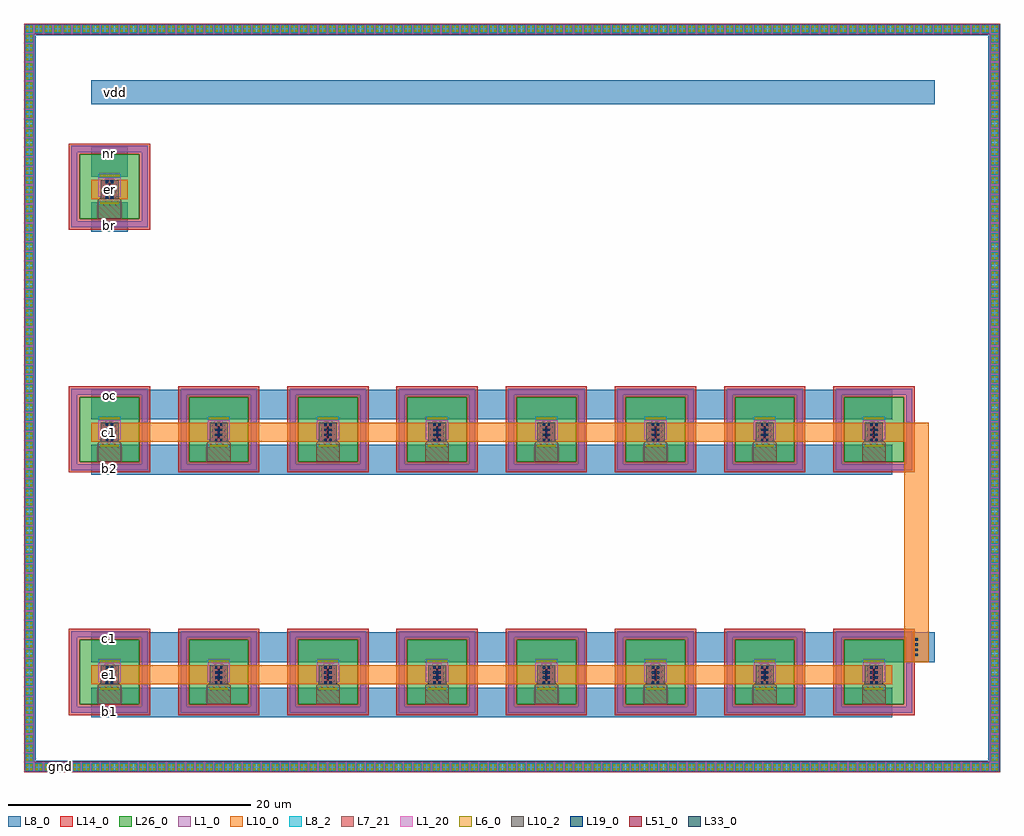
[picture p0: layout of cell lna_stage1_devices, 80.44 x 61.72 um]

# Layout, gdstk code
import gdstk
lib = gdstk.Library(unit=1e-6, precision=1e-09)
def R(c, l, rs):  # rectangles x0, y0, x1, y1
    for r in rs: c.add(gdstk.rectangle(r[:2], r[2:], *l))
def A(c, l, x, y, w, h, nx, ny, dx, dy):  # array of equal rectangles
    R(c, l, [(x+i*dx, y+j*dy, x+i*dx+w, y+j*dy+h) for i in range(nx) for j in range(ny)])
def P(c, l, *ps):  # polygons
    for p in ps: c.add(gdstk.Polygon(p, *l))
L1_0 = (1, 0)
L1_20 = (1, 20)
L6_0 = (6, 0)
L7_21 = (7, 21)
L8_0 = (8, 0)
L8_2 = (8, 2)
L10_0 = (10, 0)
L10_2 = (10, 2)
L14_0 = (14, 0)
L19_0 = (19, 0)
L26_0 = (26, 0)
L33_0 = (33, 0)
L51_0 = (51, 0)

npn13g2_base_cdns_675179 = lib.new_cell('npn13G2_base_CDNS_675179387640')
R(npn13g2_base_cdns_675179, L1_0, [(-0.925,-1.28,0.925,-0.98)])
P(npn13g2_base_cdns_675179, L1_20, [(-0.925,-0.98),(-0.925,0.62),(-0.445,0.62),(-0.235,0.83),(0.235,0.83),(0.445,0.62),(0.925,0.62),(0.925,-0.98)])
R(npn13g2_base_cdns_675179, L6_0, [(-0.825,-1.21,0.825,-1.05), (-0.76,1.06,0.76,1.22)])
P(npn13g2_base_cdns_675179, L7_21, [(-0.305,-0.94),(-0.555,-0.69),(-0.555,0.48),(-0.975,0.9),(-0.975,2.43),(0.975,2.43),(0.975,0.9),(0.555,0.48),(0.555,-0.69),(0.305,-0.94)])
R(npn13g2_base_cdns_675179, L8_0, [(-0.925,-1.25,0.925,-1.01), (-0.35,-0.77,0.35,0.785), (-0.975,1.02,0.975,1.26)])
R(npn13g2_base_cdns_675179, L10_0, [(-0.925,-0.77,0.925,0.785)])
A(npn13g2_base_cdns_675179, L19_0, -0.3, -0.7, 0.19, 0.19, 1, 4, 0, 0.41)
A(npn13g2_base_cdns_675179, L19_0, 0.11, -0.7, 0.19, 0.19, 1, 4, 0, 0.41)
R(npn13g2_base_cdns_675179, L33_0, [(-0.035,-0.45,0.035,0.45), (-0.035,-0.45,0.035,0.45)])
R(npn13g2_base_cdns_675179, L51_0, [(-0.085,-0.5,0.085,0.5)])
npn13g2_base_cdns_675179.add(gdstk.Label('npn13G2', (0.015,-2.31), layer=63, texttype=0))
npn13g2_base_cdns_675179.add(gdstk.Label('npn13G2_base', (0,0), layer=51, texttype=0))

npn13g2 = lib.new_cell('npn13G2')
P(npn13g2, L1_0, [(-3.15,-3.13),(-3.15,3.58),(2.65,3.58),(2.65,3.08),(-2.65,3.08),(-2.65,-2.63),(2.65,-2.63),(2.65,3.58),(3.15,3.58),(3.15,-3.13)])
R(npn13g2, L8_2, [(-0.965,-1.26,0.975,-1.02), (-0.915,1.01,0.925,1.25)])
R(npn13g2, L10_2, [(-0.745,-0.78,0.745,0.77)])
P(npn13g2, L14_0, [(-3.35,-3.33),(-3.35,3.78),(2.45,3.78),(2.45,2.88),(-2.45,2.88),(-2.45,-2.43),(2.45,-2.43),(2.45,3.78),(3.35,3.78),(3.35,-3.33)])
R(npn13g2, L26_0, [(-2.45,-2.43,2.45,2.88)])
npn13g2.add(gdstk.Reference(npn13g2_base_cdns_675179, (0,0), x_reflection=True))
npn13g2.add(gdstk.Label('Ae=1*1*0.07*0.90', (-1.977,-2.546), layer=63, texttype=0))
npn13g2.add(gdstk.Label('E', (0,-0.005), layer=63, texttype=0))
npn13g2.add(gdstk.Label('B', (0.005,-1.14), layer=63, texttype=0))
npn13g2.add(gdstk.Label('C', (0.005,1.13), layer=63, texttype=0))

ptap = lib.new_cell('ptap')
R(ptap, L1_0, [(0,0,0.78,0.78)])
R(ptap, L6_0, [(0.14,0.14,0.3,0.3), (0.48,0.14,0.64,0.3), (0.14,0.48,0.3,0.64), (0.48,0.48,0.64,0.64)])
R(ptap, L8_0, [(0.09,0.09,0.69,0.69)])
R(ptap, L8_2, [(0.09,0.09,0.69,0.69)])
R(ptap, L14_0, [(-0.03,-0.03,0.81,0.81)])

lna_stage1_devices = lib.new_cell('lna_stage1_devices')
R(lna_stage1_devices, L8_0, [(-7.05,-8.05,73.39,-7.1), (-7.05,-8.05,-6.1,53.67), (72.44,-8.05,73.39,53.67), (-1.5,-3.5,64.5,-1.06), (-1.5,1.05,64.5,3.5), (64.5,1.05,68,3.5), (-1.5,16.5,64.5,18.94), (-1.5,21.05,64.5,23.5), (-1.5,36.5,1.5,38.94), (-1.5,41.05,1.5,43.5), (-1.5,47,68,49), (-7.05,52.72,73.39,53.67)])
R(lna_stage1_devices, L10_0, [(-1.5,-0.8,64.5,0.79), (65.5,1.05,67.5,20.79), (-1.5,19.2,64.5,20.79), (64.4,19.2,67.5,20.79), (-1.5,39.2,1.5,40.79)])
A(lna_stage1_devices, L19_0, 66.405, 1.55, 0.19, 0.19, 1, 4, 0, 0.42)
lna_stage1_devices.add(gdstk.Reference(npn13g2, (36,0)))
lna_stage1_devices.add(gdstk.Reference(npn13g2, (0,20)))
lna_stage1_devices.add(gdstk.Reference(npn13g2, (9,20)))
lna_stage1_devices.add(gdstk.Reference(npn13g2, (18,20)))
lna_stage1_devices.add(gdstk.Reference(npn13g2, (27,20)))
lna_stage1_devices.add(gdstk.Reference(npn13g2, (36,20)))
lna_stage1_devices.add(gdstk.Reference(npn13g2, (45,20)))
lna_stage1_devices.add(gdstk.Reference(npn13g2, (54,20)))
lna_stage1_devices.add(gdstk.Reference(npn13g2, (63,20)))
lna_stage1_devices.add(gdstk.Reference(ptap, (32.78,-8)))
lna_stage1_devices.add(gdstk.Reference(ptap, (72.56,22.42)))
lna_stage1_devices.add(gdstk.Reference(ptap, (32.78,52.84)))
lna_stage1_devices.add(gdstk.Reference(ptap, (-7,22.42)))
lna_stage1_devices.add(gdstk.Reference(ptap, (72.56,24.76)))
lna_stage1_devices.add(gdstk.Reference(ptap, (72.56,25.54)))
lna_stage1_devices.add(gdstk.Reference(ptap, (72.56,26.32)))
lna_stage1_devices.add(gdstk.Reference(ptap, (72.56,27.1)))
lna_stage1_devices.add(gdstk.Reference(ptap, (72.56,27.88)))
lna_stage1_devices.add(gdstk.Reference(ptap, (72.56,28.66)))
lna_stage1_devices.add(gdstk.Reference(ptap, (72.56,29.44)))
lna_stage1_devices.add(gdstk.Reference(ptap, (72.56,30.22)))
lna_stage1_devices.add(gdstk.Reference(ptap, (72.56,31)))
lna_stage1_devices.add(gdstk.Reference(ptap, (72.56,31.78)))
lna_stage1_devices.add(gdstk.Reference(ptap, (72.56,32.56)))
lna_stage1_devices.add(gdstk.Reference(ptap, (72.56,33.34)))
lna_stage1_devices.add(gdstk.Reference(ptap, (72.56,34.12)))
lna_stage1_devices.add(gdstk.Reference(ptap, (72.56,34.9)))
lna_stage1_devices.add(gdstk.Reference(ptap, (72.56,35.68)))
lna_stage1_devices.add(gdstk.Reference(ptap, (72.56,36.46)))
lna_stage1_devices.add(gdstk.Reference(ptap, (72.56,37.24)))
lna_stage1_devices.add(gdstk.Reference(ptap, (72.56,38.02)))
lna_stage1_devices.add(gdstk.Reference(ptap, (72.56,38.8)))
lna_stage1_devices.add(gdstk.Reference(ptap, (72.56,39.58)))
lna_stage1_devices.add(gdstk.Reference(ptap, (72.56,40.36)))
lna_stage1_devices.add(gdstk.Reference(ptap, (72.56,41.14)))
lna_stage1_devices.add(gdstk.Reference(ptap, (72.56,41.92)))
lna_stage1_devices.add(gdstk.Reference(ptap, (72.56,42.7)))
lna_stage1_devices.add(gdstk.Reference(ptap, (72.56,43.48)))
lna_stage1_devices.add(gdstk.Reference(ptap, (72.56,44.26)))
lna_stage1_devices.add(gdstk.Reference(ptap, (72.56,45.04)))
lna_stage1_devices.add(gdstk.Reference(ptap, (72.56,45.82)))
lna_stage1_devices.add(gdstk.Reference(ptap, (72.56,46.6)))
lna_stage1_devices.add(gdstk.Reference(ptap, (72.56,47.38)))
lna_stage1_devices.add(gdstk.Reference(ptap, (72.56,48.16)))
lna_stage1_devices.add(gdstk.Reference(ptap, (72.56,48.94)))
lna_stage1_devices.add(gdstk.Reference(ptap, (72.56,49.72)))
lna_stage1_devices.add(gdstk.Reference(ptap, (72.56,50.5)))
lna_stage1_devices.add(gdstk.Reference(ptap, (72.56,51.28)))
lna_stage1_devices.add(gdstk.Reference(ptap, (72.56,52.06)))
lna_stage1_devices.add(gdstk.Reference(ptap, (72.56,52.84)))
lna_stage1_devices.add(gdstk.Reference(ptap, (71.78,52.84)))
lna_stage1_devices.add(gdstk.Reference(ptap, (71,52.84)))
lna_stage1_devices.add(gdstk.Reference(ptap, (70.22,52.84)))
lna_stage1_devices.add(gdstk.Reference(ptap, (69.44,52.84)))
lna_stage1_devices.add(gdstk.Reference(ptap, (68.66,52.84)))
lna_stage1_devices.add(gdstk.Reference(ptap, (67.88,52.84)))
lna_stage1_devices.add(gdstk.Reference(ptap, (67.1,52.84)))
lna_stage1_devices.add(gdstk.Reference(ptap, (66.32,52.84)))
lna_stage1_devices.add(gdstk.Reference(ptap, (65.54,52.84)))
lna_stage1_devices.add(gdstk.Reference(ptap, (64.76,52.84)))
lna_stage1_devices.add(gdstk.Reference(ptap, (63.98,52.84)))
lna_stage1_devices.add(gdstk.Reference(ptap, (63.2,52.84)))
lna_stage1_devices.add(gdstk.Reference(ptap, (62.42,52.84)))
lna_stage1_devices.add(gdstk.Reference(ptap, (61.64,52.84)))
lna_stage1_devices.add(gdstk.Reference(ptap, (60.86,52.84)))
lna_stage1_devices.add(gdstk.Reference(ptap, (60.08,52.84)))
lna_stage1_devices.add(gdstk.Reference(ptap, (59.3,52.84)))
lna_stage1_devices.add(gdstk.Reference(ptap, (58.52,52.84)))
lna_stage1_devices.add(gdstk.Reference(ptap, (57.74,52.84)))
lna_stage1_devices.add(gdstk.Reference(ptap, (56.96,52.84)))
lna_stage1_devices.add(gdstk.Reference(ptap, (56.18,52.84)))
lna_stage1_devices.add(gdstk.Reference(ptap, (55.4,52.84)))
lna_stage1_devices.add(gdstk.Reference(ptap, (54.62,52.84)))
lna_stage1_devices.add(gdstk.Reference(ptap, (53.84,52.84)))
lna_stage1_devices.add(gdstk.Reference(ptap, (53.06,52.84)))
lna_stage1_devices.add(gdstk.Reference(ptap, (52.28,52.84)))
lna_stage1_devices.add(gdstk.Reference(ptap, (51.5,52.84)))
lna_stage1_devices.add(gdstk.Reference(ptap, (50.72,52.84)))
lna_stage1_devices.add(gdstk.Reference(ptap, (49.94,52.84)))
lna_stage1_devices.add(gdstk.Reference(ptap, (49.16,52.84)))
lna_stage1_devices.add(gdstk.Reference(ptap, (48.38,52.84)))
lna_stage1_devices.add(gdstk.Reference(ptap, (47.6,52.84)))
lna_stage1_devices.add(gdstk.Reference(ptap, (46.82,52.84)))
lna_stage1_devices.add(gdstk.Reference(ptap, (46.04,52.84)))
lna_stage1_devices.add(gdstk.Reference(ptap, (45.26,52.84)))
lna_stage1_devices.add(gdstk.Reference(ptap, (44.48,52.84)))
lna_stage1_devices.add(gdstk.Reference(ptap, (43.7,52.84)))
lna_stage1_devices.add(gdstk.Reference(ptap, (42.92,52.84)))
lna_stage1_devices.add(gdstk.Reference(ptap, (42.14,52.84)))
lna_stage1_devices.add(gdstk.Reference(ptap, (41.36,52.84)))
lna_stage1_devices.add(gdstk.Reference(ptap, (40.58,52.84)))
lna_stage1_devices.add(gdstk.Reference(ptap, (39.8,52.84)))
lna_stage1_devices.add(gdstk.Reference(ptap, (39.02,52.84)))
lna_stage1_devices.add(gdstk.Reference(ptap, (38.24,52.84)))
lna_stage1_devices.add(gdstk.Reference(ptap, (37.46,52.84)))
lna_stage1_devices.add(gdstk.Reference(ptap, (36.68,52.84)))
lna_stage1_devices.add(gdstk.Reference(ptap, (35.9,52.84)))
lna_stage1_devices.add(gdstk.Reference(ptap, (35.12,52.84)))
lna_stage1_devices.add(gdstk.Reference(ptap, (34.34,52.84)))
lna_stage1_devices.add(gdstk.Reference(ptap, (33.56,52.84)))
lna_stage1_devices.add(gdstk.Reference(ptap, (72.56,23.2)))
lna_stage1_devices.add(gdstk.Reference(ptap, (72.56,23.98)))
lna_stage1_devices.add(gdstk.Reference(ptap, (32,52.84)))
lna_stage1_devices.add(gdstk.Reference(ptap, (31.22,52.84)))
lna_stage1_devices.add(gdstk.Reference(ptap, (30.44,52.84)))
lna_stage1_devices.add(gdstk.Reference(ptap, (29.66,52.84)))
lna_stage1_devices.add(gdstk.Reference(ptap, (28.88,52.84)))
lna_stage1_devices.add(gdstk.Reference(ptap, (28.1,52.84)))
lna_stage1_devices.add(gdstk.Reference(ptap, (27.32,52.84)))
lna_stage1_devices.add(gdstk.Reference(ptap, (26.54,52.84)))
lna_stage1_devices.add(gdstk.Reference(ptap, (25.76,52.84)))
lna_stage1_devices.add(gdstk.Reference(ptap, (24.98,52.84)))
lna_stage1_devices.add(gdstk.Reference(ptap, (24.2,52.84)))
lna_stage1_devices.add(gdstk.Reference(ptap, (23.42,52.84)))
lna_stage1_devices.add(gdstk.Reference(ptap, (22.64,52.84)))
lna_stage1_devices.add(gdstk.Reference(ptap, (21.86,52.84)))
lna_stage1_devices.add(gdstk.Reference(ptap, (21.08,52.84)))
lna_stage1_devices.add(gdstk.Reference(ptap, (20.3,52.84)))
lna_stage1_devices.add(gdstk.Reference(ptap, (19.52,52.84)))
lna_stage1_devices.add(gdstk.Reference(ptap, (18.74,52.84)))
lna_stage1_devices.add(gdstk.Reference(ptap, (17.96,52.84)))
lna_stage1_devices.add(gdstk.Reference(ptap, (17.18,52.84)))
lna_stage1_devices.add(gdstk.Reference(ptap, (16.4,52.84)))
lna_stage1_devices.add(gdstk.Reference(ptap, (15.62,52.84)))
lna_stage1_devices.add(gdstk.Reference(ptap, (14.84,52.84)))
lna_stage1_devices.add(gdstk.Reference(ptap, (14.06,52.84)))
lna_stage1_devices.add(gdstk.Reference(ptap, (13.28,52.84)))
lna_stage1_devices.add(gdstk.Reference(ptap, (12.5,52.84)))
lna_stage1_devices.add(gdstk.Reference(ptap, (11.72,52.84)))
lna_stage1_devices.add(gdstk.Reference(ptap, (10.94,52.84)))
lna_stage1_devices.add(gdstk.Reference(ptap, (10.16,52.84)))
lna_stage1_devices.add(gdstk.Reference(ptap, (9.38,52.84)))
lna_stage1_devices.add(gdstk.Reference(ptap, (8.6,52.84)))
lna_stage1_devices.add(gdstk.Reference(ptap, (7.82,52.84)))
lna_stage1_devices.add(gdstk.Reference(ptap, (7.04,52.84)))
lna_stage1_devices.add(gdstk.Reference(ptap, (6.26,52.84)))
lna_stage1_devices.add(gdstk.Reference(ptap, (5.48,52.84)))
lna_stage1_devices.add(gdstk.Reference(ptap, (4.7,52.84)))
lna_stage1_devices.add(gdstk.Reference(ptap, (3.92,52.84)))
lna_stage1_devices.add(gdstk.Reference(ptap, (3.14,52.84)))
lna_stage1_devices.add(gdstk.Reference(ptap, (2.36,52.84)))
lna_stage1_devices.add(gdstk.Reference(ptap, (1.58,52.84)))
lna_stage1_devices.add(gdstk.Reference(ptap, (0.8,52.84)))
lna_stage1_devices.add(gdstk.Reference(ptap, (0.02,52.84)))
lna_stage1_devices.add(gdstk.Reference(ptap, (-0.76,52.84)))
lna_stage1_devices.add(gdstk.Reference(ptap, (-1.54,52.84)))
lna_stage1_devices.add(gdstk.Reference(ptap, (-2.32,52.84)))
lna_stage1_devices.add(gdstk.Reference(ptap, (-3.1,52.84)))
lna_stage1_devices.add(gdstk.Reference(ptap, (-3.88,52.84)))
lna_stage1_devices.add(gdstk.Reference(ptap, (-4.66,52.84)))
lna_stage1_devices.add(gdstk.Reference(ptap, (-5.44,52.84)))
lna_stage1_devices.add(gdstk.Reference(ptap, (-6.22,52.84)))
lna_stage1_devices.add(gdstk.Reference(ptap, (-7,52.84)))
lna_stage1_devices.add(gdstk.Reference(ptap, (-7,52.06)))
lna_stage1_devices.add(gdstk.Reference(ptap, (-7,51.28)))
lna_stage1_devices.add(gdstk.Reference(ptap, (-7,50.5)))
lna_stage1_devices.add(gdstk.Reference(ptap, (-7,49.72)))
lna_stage1_devices.add(gdstk.Reference(ptap, (-7,48.94)))
lna_stage1_devices.add(gdstk.Reference(ptap, (-7,48.16)))
lna_stage1_devices.add(gdstk.Reference(ptap, (-7,47.38)))
lna_stage1_devices.add(gdstk.Reference(ptap, (-7,46.6)))
lna_stage1_devices.add(gdstk.Reference(ptap, (-7,45.82)))
lna_stage1_devices.add(gdstk.Reference(ptap, (-7,45.04)))
lna_stage1_devices.add(gdstk.Reference(ptap, (-7,44.26)))
lna_stage1_devices.add(gdstk.Reference(ptap, (-7,43.48)))
lna_stage1_devices.add(gdstk.Reference(ptap, (-7,42.7)))
lna_stage1_devices.add(gdstk.Reference(ptap, (-7,41.92)))
lna_stage1_devices.add(gdstk.Reference(ptap, (-7,41.14)))
lna_stage1_devices.add(gdstk.Reference(ptap, (-7,40.36)))
lna_stage1_devices.add(gdstk.Reference(ptap, (-7,39.58)))
lna_stage1_devices.add(gdstk.Reference(ptap, (-7,38.8)))
lna_stage1_devices.add(gdstk.Reference(ptap, (-7,38.02)))
lna_stage1_devices.add(gdstk.Reference(ptap, (-7,37.24)))
lna_stage1_devices.add(gdstk.Reference(ptap, (-7,36.46)))
lna_stage1_devices.add(gdstk.Reference(ptap, (-7,35.68)))
lna_stage1_devices.add(gdstk.Reference(ptap, (-7,34.9)))
lna_stage1_devices.add(gdstk.Reference(ptap, (-7,34.12)))
lna_stage1_devices.add(gdstk.Reference(ptap, (-7,33.34)))
lna_stage1_devices.add(gdstk.Reference(ptap, (-7,32.56)))
lna_stage1_devices.add(gdstk.Reference(ptap, (-7,31.78)))
lna_stage1_devices.add(gdstk.Reference(ptap, (-7,31)))
lna_stage1_devices.add(gdstk.Reference(ptap, (-7,30.22)))
lna_stage1_devices.add(gdstk.Reference(ptap, (-7,29.44)))
lna_stage1_devices.add(gdstk.Reference(ptap, (-7,28.66)))
lna_stage1_devices.add(gdstk.Reference(ptap, (-7,27.88)))
lna_stage1_devices.add(gdstk.Reference(ptap, (-7,27.1)))
lna_stage1_devices.add(gdstk.Reference(ptap, (-7,26.32)))
lna_stage1_devices.add(gdstk.Reference(ptap, (-7,25.54)))
lna_stage1_devices.add(gdstk.Reference(ptap, (-7,24.76)))
lna_stage1_devices.add(gdstk.Reference(ptap, (-7,23.98)))
lna_stage1_devices.add(gdstk.Reference(ptap, (-7,23.2)))
lna_stage1_devices.add(gdstk.Reference(npn13g2, (0,40)))
lna_stage1_devices.add(gdstk.Reference(ptap, (3.14,-8)))
lna_stage1_devices.add(gdstk.Reference(ptap, (3.92,-8)))
lna_stage1_devices.add(gdstk.Reference(ptap, (4.7,-8)))
lna_stage1_devices.add(gdstk.Reference(ptap, (5.48,-8)))
lna_stage1_devices.add(gdstk.Reference(ptap, (6.26,-8)))
lna_stage1_devices.add(gdstk.Reference(ptap, (7.04,-8)))
lna_stage1_devices.add(gdstk.Reference(ptap, (7.82,-8)))
lna_stage1_devices.add(gdstk.Reference(ptap, (8.6,-8)))
lna_stage1_devices.add(gdstk.Reference(ptap, (9.38,-8)))
lna_stage1_devices.add(gdstk.Reference(ptap, (10.16,-8)))
lna_stage1_devices.add(gdstk.Reference(ptap, (10.94,-8)))
lna_stage1_devices.add(gdstk.Reference(ptap, (11.72,-8)))
lna_stage1_devices.add(gdstk.Reference(ptap, (12.5,-8)))
lna_stage1_devices.add(gdstk.Reference(ptap, (13.28,-8)))
lna_stage1_devices.add(gdstk.Reference(ptap, (14.06,-8)))
lna_stage1_devices.add(gdstk.Reference(ptap, (14.84,-8)))
lna_stage1_devices.add(gdstk.Reference(ptap, (15.62,-8)))
lna_stage1_devices.add(gdstk.Reference(ptap, (16.4,-8)))
lna_stage1_devices.add(gdstk.Reference(ptap, (17.18,-8)))
lna_stage1_devices.add(gdstk.Reference(ptap, (17.96,-8)))
lna_stage1_devices.add(gdstk.Reference(ptap, (18.74,-8)))
lna_stage1_devices.add(gdstk.Reference(ptap, (19.52,-8)))
lna_stage1_devices.add(gdstk.Reference(ptap, (20.3,-8)))
lna_stage1_devices.add(gdstk.Reference(ptap, (21.08,-8)))
lna_stage1_devices.add(gdstk.Reference(ptap, (21.86,-8)))
lna_stage1_devices.add(gdstk.Reference(ptap, (22.64,-8)))
lna_stage1_devices.add(gdstk.Reference(ptap, (23.42,-8)))
lna_stage1_devices.add(gdstk.Reference(ptap, (24.2,-8)))
lna_stage1_devices.add(gdstk.Reference(ptap, (24.98,-8)))
lna_stage1_devices.add(gdstk.Reference(ptap, (25.76,-8)))
lna_stage1_devices.add(gdstk.Reference(ptap, (26.54,-8)))
lna_stage1_devices.add(gdstk.Reference(ptap, (27.32,-8)))
lna_stage1_devices.add(gdstk.Reference(ptap, (28.1,-8)))
lna_stage1_devices.add(gdstk.Reference(ptap, (28.88,-8)))
lna_stage1_devices.add(gdstk.Reference(ptap, (29.66,-8)))
lna_stage1_devices.add(gdstk.Reference(ptap, (30.44,-8)))
lna_stage1_devices.add(gdstk.Reference(ptap, (31.22,-8)))
lna_stage1_devices.add(gdstk.Reference(ptap, (32,-8)))
lna_stage1_devices.add(gdstk.Reference(npn13g2, (18,0)))
lna_stage1_devices.add(gdstk.Reference(npn13g2, (27,0)))
lna_stage1_devices.add(gdstk.Reference(npn13g2, (0,0)))
lna_stage1_devices.add(gdstk.Reference(npn13g2, (9,0)))
lna_stage1_devices.add(gdstk.Reference(ptap, (-7,-8)))
lna_stage1_devices.add(gdstk.Reference(ptap, (-6.22,-8)))
lna_stage1_devices.add(gdstk.Reference(ptap, (-5.44,-8)))
lna_stage1_devices.add(gdstk.Reference(ptap, (-4.66,-8)))
lna_stage1_devices.add(gdstk.Reference(ptap, (-3.88,-8)))
lna_stage1_devices.add(gdstk.Reference(ptap, (-3.1,-8)))
lna_stage1_devices.add(gdstk.Reference(ptap, (-2.32,-8)))
lna_stage1_devices.add(gdstk.Reference(ptap, (-1.54,-8)))
lna_stage1_devices.add(gdstk.Reference(ptap, (-0.76,-8)))
lna_stage1_devices.add(gdstk.Reference(ptap, (0.02,-8)))
lna_stage1_devices.add(gdstk.Reference(ptap, (0.8,-8)))
lna_stage1_devices.add(gdstk.Reference(ptap, (1.58,-8)))
lna_stage1_devices.add(gdstk.Reference(ptap, (2.36,-8)))
lna_stage1_devices.add(gdstk.Reference(ptap, (-7,21.64)))
lna_stage1_devices.add(gdstk.Reference(ptap, (-7,20.86)))
lna_stage1_devices.add(gdstk.Reference(ptap, (-7,20.08)))
lna_stage1_devices.add(gdstk.Reference(ptap, (-7,19.3)))
lna_stage1_devices.add(gdstk.Reference(ptap, (-7,18.52)))
lna_stage1_devices.add(gdstk.Reference(ptap, (-7,17.74)))
lna_stage1_devices.add(gdstk.Reference(ptap, (-7,16.96)))
lna_stage1_devices.add(gdstk.Reference(ptap, (-7,16.18)))
lna_stage1_devices.add(gdstk.Reference(ptap, (-7,15.4)))
lna_stage1_devices.add(gdstk.Reference(ptap, (-7,14.62)))
lna_stage1_devices.add(gdstk.Reference(ptap, (-7,13.84)))
lna_stage1_devices.add(gdstk.Reference(ptap, (-7,13.06)))
lna_stage1_devices.add(gdstk.Reference(ptap, (-7,12.28)))
lna_stage1_devices.add(gdstk.Reference(ptap, (-7,11.5)))
lna_stage1_devices.add(gdstk.Reference(ptap, (-7,10.72)))
lna_stage1_devices.add(gdstk.Reference(ptap, (-7,9.94)))
lna_stage1_devices.add(gdstk.Reference(ptap, (-7,9.16)))
lna_stage1_devices.add(gdstk.Reference(ptap, (-7,8.38)))
lna_stage1_devices.add(gdstk.Reference(ptap, (-7,7.6)))
lna_stage1_devices.add(gdstk.Reference(ptap, (-7,6.82)))
lna_stage1_devices.add(gdstk.Reference(ptap, (-7,6.04)))
lna_stage1_devices.add(gdstk.Reference(ptap, (-7,5.26)))
lna_stage1_devices.add(gdstk.Reference(ptap, (-7,4.48)))
lna_stage1_devices.add(gdstk.Reference(ptap, (-7,3.7)))
lna_stage1_devices.add(gdstk.Reference(ptap, (-7,2.92)))
lna_stage1_devices.add(gdstk.Reference(ptap, (-7,2.14)))
lna_stage1_devices.add(gdstk.Reference(ptap, (-7,1.36)))
lna_stage1_devices.add(gdstk.Reference(ptap, (-7,0.58)))
lna_stage1_devices.add(gdstk.Reference(ptap, (-7,-0.2)))
lna_stage1_devices.add(gdstk.Reference(ptap, (-7,-0.98)))
lna_stage1_devices.add(gdstk.Reference(ptap, (-7,-1.76)))
lna_stage1_devices.add(gdstk.Reference(ptap, (-7,-2.54)))
lna_stage1_devices.add(gdstk.Reference(ptap, (-7,-3.32)))
lna_stage1_devices.add(gdstk.Reference(ptap, (-7,-4.1)))
lna_stage1_devices.add(gdstk.Reference(ptap, (-7,-4.88)))
lna_stage1_devices.add(gdstk.Reference(ptap, (-7,-5.66)))
lna_stage1_devices.add(gdstk.Reference(ptap, (-7,-6.44)))
lna_stage1_devices.add(gdstk.Reference(ptap, (-7,-7.22)))
lna_stage1_devices.add(gdstk.Reference(ptap, (58.52,-8)))
lna_stage1_devices.add(gdstk.Reference(ptap, (59.3,-8)))
lna_stage1_devices.add(gdstk.Reference(ptap, (60.08,-8)))
lna_stage1_devices.add(gdstk.Reference(ptap, (60.86,-8)))
lna_stage1_devices.add(gdstk.Reference(ptap, (61.64,-8)))
lna_stage1_devices.add(gdstk.Reference(ptap, (62.42,-8)))
lna_stage1_devices.add(gdstk.Reference(ptap, (63.2,-8)))
lna_stage1_devices.add(gdstk.Reference(ptap, (63.98,-8)))
lna_stage1_devices.add(gdstk.Reference(ptap, (64.76,-8)))
lna_stage1_devices.add(gdstk.Reference(ptap, (65.54,-8)))
lna_stage1_devices.add(gdstk.Reference(ptap, (66.32,-8)))
lna_stage1_devices.add(gdstk.Reference(ptap, (67.1,-8)))
lna_stage1_devices.add(gdstk.Reference(ptap, (67.88,-8)))
lna_stage1_devices.add(gdstk.Reference(ptap, (68.66,-8)))
lna_stage1_devices.add(gdstk.Reference(ptap, (69.44,-8)))
lna_stage1_devices.add(gdstk.Reference(ptap, (70.22,-8)))
lna_stage1_devices.add(gdstk.Reference(ptap, (71,-8)))
lna_stage1_devices.add(gdstk.Reference(ptap, (71.78,-8)))
lna_stage1_devices.add(gdstk.Reference(ptap, (72.56,-8)))
lna_stage1_devices.add(gdstk.Reference(ptap, (72.56,-7.22)))
lna_stage1_devices.add(gdstk.Reference(ptap, (72.56,-6.44)))
lna_stage1_devices.add(gdstk.Reference(ptap, (72.56,-5.66)))
lna_stage1_devices.add(gdstk.Reference(ptap, (72.56,-4.88)))
lna_stage1_devices.add(gdstk.Reference(ptap, (72.56,-4.1)))
lna_stage1_devices.add(gdstk.Reference(ptap, (72.56,-3.32)))
lna_stage1_devices.add(gdstk.Reference(ptap, (72.56,-2.54)))
lna_stage1_devices.add(gdstk.Reference(ptap, (72.56,-1.76)))
lna_stage1_devices.add(gdstk.Reference(ptap, (72.56,-0.98)))
lna_stage1_devices.add(gdstk.Reference(ptap, (72.56,-0.2)))
lna_stage1_devices.add(gdstk.Reference(ptap, (72.56,0.58)))
lna_stage1_devices.add(gdstk.Reference(ptap, (72.56,1.36)))
lna_stage1_devices.add(gdstk.Reference(ptap, (72.56,2.14)))
lna_stage1_devices.add(gdstk.Reference(ptap, (72.56,2.92)))
lna_stage1_devices.add(gdstk.Reference(ptap, (72.56,3.7)))
lna_stage1_devices.add(gdstk.Reference(ptap, (72.56,4.48)))
lna_stage1_devices.add(gdstk.Reference(ptap, (72.56,5.26)))
lna_stage1_devices.add(gdstk.Reference(ptap, (72.56,6.04)))
lna_stage1_devices.add(gdstk.Reference(ptap, (72.56,6.82)))
lna_stage1_devices.add(gdstk.Reference(ptap, (72.56,7.6)))
lna_stage1_devices.add(gdstk.Reference(ptap, (72.56,8.38)))
lna_stage1_devices.add(gdstk.Reference(ptap, (72.56,9.16)))
lna_stage1_devices.add(gdstk.Reference(ptap, (72.56,9.94)))
lna_stage1_devices.add(gdstk.Reference(ptap, (72.56,10.72)))
lna_stage1_devices.add(gdstk.Reference(ptap, (72.56,11.5)))
lna_stage1_devices.add(gdstk.Reference(ptap, (72.56,12.28)))
lna_stage1_devices.add(gdstk.Reference(ptap, (72.56,13.06)))
lna_stage1_devices.add(gdstk.Reference(ptap, (72.56,13.84)))
lna_stage1_devices.add(gdstk.Reference(ptap, (72.56,14.62)))
lna_stage1_devices.add(gdstk.Reference(ptap, (72.56,15.4)))
lna_stage1_devices.add(gdstk.Reference(ptap, (72.56,16.18)))
lna_stage1_devices.add(gdstk.Reference(ptap, (72.56,16.96)))
lna_stage1_devices.add(gdstk.Reference(ptap, (72.56,17.74)))
lna_stage1_devices.add(gdstk.Reference(ptap, (72.56,18.52)))
lna_stage1_devices.add(gdstk.Reference(ptap, (72.56,19.3)))
lna_stage1_devices.add(gdstk.Reference(ptap, (72.56,20.08)))
lna_stage1_devices.add(gdstk.Reference(ptap, (72.56,20.86)))
lna_stage1_devices.add(gdstk.Reference(ptap, (72.56,21.64)))
lna_stage1_devices.add(gdstk.Reference(npn13g2, (54,0)))
lna_stage1_devices.add(gdstk.Reference(npn13g2, (63,0)))
lna_stage1_devices.add(gdstk.Reference(npn13g2, (45,0)))
lna_stage1_devices.add(gdstk.Reference(ptap, (33.56,-8)))
lna_stage1_devices.add(gdstk.Reference(ptap, (34.34,-8)))
lna_stage1_devices.add(gdstk.Reference(ptap, (35.12,-8)))
lna_stage1_devices.add(gdstk.Reference(ptap, (35.9,-8)))
lna_stage1_devices.add(gdstk.Reference(ptap, (36.68,-8)))
lna_stage1_devices.add(gdstk.Reference(ptap, (37.46,-8)))
lna_stage1_devices.add(gdstk.Reference(ptap, (38.24,-8)))
lna_stage1_devices.add(gdstk.Reference(ptap, (39.02,-8)))
lna_stage1_devices.add(gdstk.Reference(ptap, (39.8,-8)))
lna_stage1_devices.add(gdstk.Reference(ptap, (40.58,-8)))
lna_stage1_devices.add(gdstk.Reference(ptap, (41.36,-8)))
lna_stage1_devices.add(gdstk.Reference(ptap, (42.14,-8)))
lna_stage1_devices.add(gdstk.Reference(ptap, (42.92,-8)))
lna_stage1_devices.add(gdstk.Reference(ptap, (43.7,-8)))
lna_stage1_devices.add(gdstk.Reference(ptap, (44.48,-8)))
lna_stage1_devices.add(gdstk.Reference(ptap, (45.26,-8)))
lna_stage1_devices.add(gdstk.Reference(ptap, (46.04,-8)))
lna_stage1_devices.add(gdstk.Reference(ptap, (46.82,-8)))
lna_stage1_devices.add(gdstk.Reference(ptap, (47.6,-8)))
lna_stage1_devices.add(gdstk.Reference(ptap, (48.38,-8)))
lna_stage1_devices.add(gdstk.Reference(ptap, (49.16,-8)))
lna_stage1_devices.add(gdstk.Reference(ptap, (49.94,-8)))
lna_stage1_devices.add(gdstk.Reference(ptap, (50.72,-8)))
lna_stage1_devices.add(gdstk.Reference(ptap, (51.5,-8)))
lna_stage1_devices.add(gdstk.Reference(ptap, (52.28,-8)))
lna_stage1_devices.add(gdstk.Reference(ptap, (53.06,-8)))
lna_stage1_devices.add(gdstk.Reference(ptap, (53.84,-8)))
lna_stage1_devices.add(gdstk.Reference(ptap, (54.62,-8)))
lna_stage1_devices.add(gdstk.Reference(ptap, (55.4,-8)))
lna_stage1_devices.add(gdstk.Reference(ptap, (56.18,-8)))
lna_stage1_devices.add(gdstk.Reference(ptap, (56.96,-8)))
lna_stage1_devices.add(gdstk.Reference(ptap, (57.74,-8)))
lna_stage1_devices.add(gdstk.Label('c1', (0,3), layer=8, texttype=25))
lna_stage1_devices.add(gdstk.Label('b1', (0,-3), layer=8, texttype=25))
lna_stage1_devices.add(gdstk.Label('oc', (0,23), layer=8, texttype=25))
lna_stage1_devices.add(gdstk.Label('b2', (0,17), layer=8, texttype=25))
lna_stage1_devices.add(gdstk.Label('nr', (0,43), layer=8, texttype=25))
lna_stage1_devices.add(gdstk.Label('br', (0,37), layer=8, texttype=25))
lna_stage1_devices.add(gdstk.Label('vdd', (0.5,48), layer=8, texttype=25))
lna_stage1_devices.add(gdstk.Label('gnd', (-4.05,-7.575), layer=8, texttype=25))
lna_stage1_devices.add(gdstk.Label('e1', (0,0), layer=10, texttype=25))
lna_stage1_devices.add(gdstk.Label('c1', (0,20), layer=10, texttype=25))
lna_stage1_devices.add(gdstk.Label('er', (0,40), layer=10, texttype=25))

lib.write_gds('lna_stage1_devices.gds')
